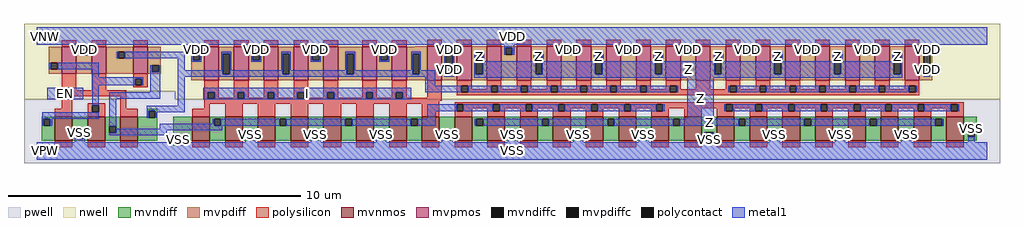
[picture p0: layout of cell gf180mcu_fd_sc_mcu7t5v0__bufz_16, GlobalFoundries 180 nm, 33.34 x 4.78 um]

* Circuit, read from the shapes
.subckt gf180mcu_fd_sc_mcu7t5v0__bufz_16 EN I Z VDD VNW VPW VSS
XM1 VSS EN n1 VPW nfet_06v0 w=0.815u l=0.6u
XM2 n2 n1 VSS VPW nfet_06v0 w=0.815u l=0.6u
XM3 n3 EN n2 VPW nfet_06v0 w=0.815u l=0.6u
XM4 n2 I VSS VPW nfet_06v0 w=0.82u l=0.6u m=8
XM5 Z n2 VSS VPW nfet_06v0 w=0.82u l=0.6u m=16
XM6 VDD EN n1 VNW pfet_06v0 w=0.92u l=0.5u
XM7 n3 EN VDD VNW pfet_06v0 w=0.92u l=0.5u
XM8 n2 n1 n3 VNW pfet_06v0 w=0.92u l=0.5u
XM9 n3 I VDD VNW pfet_06v0 w=1.15u l=0.5u m=7
XM10 VDD I n3 VNW pfet_06v0 w=1.175u l=0.5u
XM11 Z n3 VDD VNW pfet_06v0 w=1.175u l=0.5u m=16
.ends

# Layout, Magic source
magic
tech gf180mcuD
magscale 1 10
<< nwell >>
rect -86 407 6582 870
rect -86 352 575 407
rect 949 352 6582 407
<< pwell >>
rect 575 352 949 407
rect -86 -86 6582 352
<< mvnmos >>
rect 124 69 244 232
rect 348 69 468 232
rect 572 69 692 232
rect 1064 68 1184 232
rect 1288 68 1408 232
rect 1512 68 1632 232
rect 1736 68 1856 232
rect 1960 68 2080 232
rect 2184 68 2304 232
rect 2408 68 2528 232
rect 2632 68 2752 232
rect 2856 68 2976 232
rect 3080 68 3200 232
rect 3304 68 3424 232
rect 3528 68 3648 232
rect 3752 68 3872 232
rect 3976 68 4096 232
rect 4200 68 4320 232
rect 4424 68 4544 232
rect 4648 68 4768 232
rect 4872 68 4992 232
rect 5096 68 5216 232
rect 5320 68 5440 232
rect 5544 68 5664 232
rect 5768 68 5888 232
rect 5992 68 6112 232
rect 6216 68 6336 232
<< mvpmos >>
rect 172 527 272 711
rect 376 527 476 711
rect 660 527 760 711
rect 1144 481 1244 711
rect 1348 481 1448 711
rect 1552 481 1652 711
rect 1756 481 1856 711
rect 1960 481 2060 711
rect 2224 481 2324 711
rect 2428 481 2528 711
rect 2668 481 2768 716
rect 2872 481 2972 716
rect 3076 481 3176 716
rect 3280 481 3380 716
rect 3484 481 3584 716
rect 3688 481 3788 716
rect 3892 481 3992 716
rect 4096 481 4196 716
rect 4300 481 4400 716
rect 4504 481 4604 716
rect 4708 481 4808 716
rect 4912 481 5012 716
rect 5116 481 5216 716
rect 5320 481 5420 716
rect 5524 481 5624 716
rect 5728 481 5828 716
rect 5932 481 6032 716
<< mvndiff >>
rect 752 274 824 287
rect 752 232 765 274
rect 36 219 124 232
rect 36 173 49 219
rect 95 173 124 219
rect 36 69 124 173
rect 244 128 348 232
rect 244 82 273 128
rect 319 82 348 128
rect 244 69 348 82
rect 468 169 572 232
rect 468 123 497 169
rect 543 123 572 169
rect 468 69 572 123
rect 692 228 765 232
rect 811 228 824 274
rect 692 69 824 228
rect 932 95 1064 232
rect 932 49 945 95
rect 991 68 1064 95
rect 1184 219 1288 232
rect 1184 173 1213 219
rect 1259 173 1288 219
rect 1184 68 1288 173
rect 1408 127 1512 232
rect 1408 81 1437 127
rect 1483 81 1512 127
rect 1408 68 1512 81
rect 1632 219 1736 232
rect 1632 173 1661 219
rect 1707 173 1736 219
rect 1632 68 1736 173
rect 1856 127 1960 232
rect 1856 81 1885 127
rect 1931 81 1960 127
rect 1856 68 1960 81
rect 2080 219 2184 232
rect 2080 173 2109 219
rect 2155 173 2184 219
rect 2080 68 2184 173
rect 2304 127 2408 232
rect 2304 81 2333 127
rect 2379 81 2408 127
rect 2304 68 2408 81
rect 2528 219 2632 232
rect 2528 173 2557 219
rect 2603 173 2632 219
rect 2528 68 2632 173
rect 2752 127 2856 232
rect 2752 81 2781 127
rect 2827 81 2856 127
rect 2752 68 2856 81
rect 2976 219 3080 232
rect 2976 173 3005 219
rect 3051 173 3080 219
rect 2976 68 3080 173
rect 3200 127 3304 232
rect 3200 81 3229 127
rect 3275 81 3304 127
rect 3200 68 3304 81
rect 3424 219 3528 232
rect 3424 173 3453 219
rect 3499 173 3528 219
rect 3424 68 3528 173
rect 3648 127 3752 232
rect 3648 81 3677 127
rect 3723 81 3752 127
rect 3648 68 3752 81
rect 3872 219 3976 232
rect 3872 173 3901 219
rect 3947 173 3976 219
rect 3872 68 3976 173
rect 4096 127 4200 232
rect 4096 81 4125 127
rect 4171 81 4200 127
rect 4096 68 4200 81
rect 4320 219 4424 232
rect 4320 173 4349 219
rect 4395 173 4424 219
rect 4320 68 4424 173
rect 4544 127 4648 232
rect 4544 81 4573 127
rect 4619 81 4648 127
rect 4544 68 4648 81
rect 4768 219 4872 232
rect 4768 173 4797 219
rect 4843 173 4872 219
rect 4768 68 4872 173
rect 4992 127 5096 232
rect 4992 81 5021 127
rect 5067 81 5096 127
rect 4992 68 5096 81
rect 5216 219 5320 232
rect 5216 173 5245 219
rect 5291 173 5320 219
rect 5216 68 5320 173
rect 5440 127 5544 232
rect 5440 81 5469 127
rect 5515 81 5544 127
rect 5440 68 5544 81
rect 5664 219 5768 232
rect 5664 173 5693 219
rect 5739 173 5768 219
rect 5664 68 5768 173
rect 5888 127 5992 232
rect 5888 81 5917 127
rect 5963 81 5992 127
rect 5888 68 5992 81
rect 6112 219 6216 232
rect 6112 173 6141 219
rect 6187 173 6216 219
rect 6112 68 6216 173
rect 6336 141 6424 232
rect 6336 95 6365 141
rect 6411 95 6424 141
rect 6336 68 6424 95
rect 991 49 1004 68
rect 932 36 1004 49
<< mvpdiff >>
rect 2588 711 2668 716
rect 84 602 172 711
rect 84 556 97 602
rect 143 556 172 602
rect 84 527 172 556
rect 272 698 376 711
rect 272 652 301 698
rect 347 652 376 698
rect 272 527 376 652
rect 476 678 660 711
rect 476 632 557 678
rect 603 632 660 678
rect 476 527 660 632
rect 760 586 848 711
rect 760 540 789 586
rect 835 540 848 586
rect 760 527 848 540
rect 1056 665 1144 711
rect 1056 619 1069 665
rect 1115 619 1144 665
rect 1056 481 1144 619
rect 1244 665 1348 711
rect 1244 525 1273 665
rect 1319 525 1348 665
rect 1244 481 1348 525
rect 1448 665 1552 711
rect 1448 619 1477 665
rect 1523 619 1552 665
rect 1448 481 1552 619
rect 1652 665 1756 711
rect 1652 525 1681 665
rect 1727 525 1756 665
rect 1652 481 1756 525
rect 1856 665 1960 711
rect 1856 619 1885 665
rect 1931 619 1960 665
rect 1856 481 1960 619
rect 2060 665 2224 711
rect 2060 525 2120 665
rect 2166 525 2224 665
rect 2060 481 2224 525
rect 2324 665 2428 711
rect 2324 619 2353 665
rect 2399 619 2428 665
rect 2324 481 2428 619
rect 2528 665 2668 711
rect 2528 525 2569 665
rect 2615 525 2668 665
rect 2528 481 2668 525
rect 2768 665 2872 716
rect 2768 525 2797 665
rect 2843 525 2872 665
rect 2768 481 2872 525
rect 2972 665 3076 716
rect 2972 525 3001 665
rect 3047 525 3076 665
rect 2972 481 3076 525
rect 3176 703 3280 716
rect 3176 657 3205 703
rect 3251 657 3280 703
rect 3176 481 3280 657
rect 3380 665 3484 716
rect 3380 525 3409 665
rect 3455 525 3484 665
rect 3380 481 3484 525
rect 3584 703 3688 716
rect 3584 657 3613 703
rect 3659 657 3688 703
rect 3584 481 3688 657
rect 3788 665 3892 716
rect 3788 525 3817 665
rect 3863 525 3892 665
rect 3788 481 3892 525
rect 3992 703 4096 716
rect 3992 657 4021 703
rect 4067 657 4096 703
rect 3992 481 4096 657
rect 4196 665 4300 716
rect 4196 525 4225 665
rect 4271 525 4300 665
rect 4196 481 4300 525
rect 4400 703 4504 716
rect 4400 657 4429 703
rect 4475 657 4504 703
rect 4400 481 4504 657
rect 4604 665 4708 716
rect 4604 525 4633 665
rect 4679 525 4708 665
rect 4604 481 4708 525
rect 4808 703 4912 716
rect 4808 657 4837 703
rect 4883 657 4912 703
rect 4808 481 4912 657
rect 5012 665 5116 716
rect 5012 525 5041 665
rect 5087 525 5116 665
rect 5012 481 5116 525
rect 5216 703 5320 716
rect 5216 657 5245 703
rect 5291 657 5320 703
rect 5216 481 5320 657
rect 5420 665 5524 716
rect 5420 525 5449 665
rect 5495 525 5524 665
rect 5420 481 5524 525
rect 5624 703 5728 716
rect 5624 657 5653 703
rect 5699 657 5728 703
rect 5624 481 5728 657
rect 5828 665 5932 716
rect 5828 525 5857 665
rect 5903 525 5932 665
rect 5828 481 5932 525
rect 6032 665 6120 716
rect 6032 525 6061 665
rect 6107 525 6120 665
rect 6032 481 6120 525
<< mvndiffc >>
rect 49 173 95 219
rect 273 82 319 128
rect 497 123 543 169
rect 765 228 811 274
rect 945 49 991 95
rect 1213 173 1259 219
rect 1437 81 1483 127
rect 1661 173 1707 219
rect 1885 81 1931 127
rect 2109 173 2155 219
rect 2333 81 2379 127
rect 2557 173 2603 219
rect 2781 81 2827 127
rect 3005 173 3051 219
rect 3229 81 3275 127
rect 3453 173 3499 219
rect 3677 81 3723 127
rect 3901 173 3947 219
rect 4125 81 4171 127
rect 4349 173 4395 219
rect 4573 81 4619 127
rect 4797 173 4843 219
rect 5021 81 5067 127
rect 5245 173 5291 219
rect 5469 81 5515 127
rect 5693 173 5739 219
rect 5917 81 5963 127
rect 6141 173 6187 219
rect 6365 95 6411 141
<< mvpdiffc >>
rect 97 556 143 602
rect 301 652 347 698
rect 557 632 603 678
rect 789 540 835 586
rect 1069 619 1115 665
rect 1273 525 1319 665
rect 1477 619 1523 665
rect 1681 525 1727 665
rect 1885 619 1931 665
rect 2120 525 2166 665
rect 2353 619 2399 665
rect 2569 525 2615 665
rect 2797 525 2843 665
rect 3001 525 3047 665
rect 3205 657 3251 703
rect 3409 525 3455 665
rect 3613 657 3659 703
rect 3817 525 3863 665
rect 4021 657 4067 703
rect 4225 525 4271 665
rect 4429 657 4475 703
rect 4633 525 4679 665
rect 4837 657 4883 703
rect 5041 525 5087 665
rect 5245 657 5291 703
rect 5449 525 5495 665
rect 5653 657 5699 703
rect 5857 525 5903 665
rect 6061 525 6107 665
<< polysilicon >>
rect 172 711 272 755
rect 376 711 476 755
rect 660 711 760 755
rect 1144 711 1244 755
rect 1348 711 1448 755
rect 1552 711 1652 755
rect 1756 711 1856 755
rect 1960 711 2060 755
rect 2224 711 2324 755
rect 2428 711 2528 755
rect 2668 716 2768 760
rect 2872 716 2972 760
rect 3076 716 3176 760
rect 3280 716 3380 760
rect 3484 716 3584 760
rect 3688 716 3788 760
rect 3892 716 3992 760
rect 4096 716 4196 760
rect 4300 716 4400 760
rect 4504 716 4604 760
rect 4708 716 4808 760
rect 4912 716 5012 760
rect 5116 716 5216 760
rect 5320 716 5420 760
rect 5524 716 5624 760
rect 5728 716 5828 760
rect 5932 716 6032 760
rect 172 413 272 527
rect 376 413 476 527
rect 660 493 760 527
rect 660 447 673 493
rect 719 447 760 493
rect 660 434 760 447
rect 172 412 612 413
rect 172 366 185 412
rect 231 373 612 412
rect 231 366 244 373
rect 172 288 244 366
rect 124 232 244 288
rect 348 311 468 324
rect 348 265 379 311
rect 425 265 468 311
rect 348 232 468 265
rect 572 288 612 373
rect 1144 401 1244 481
rect 1144 355 1171 401
rect 1217 363 1244 401
rect 1348 401 1448 481
rect 1348 363 1373 401
rect 1217 355 1373 363
rect 1419 363 1448 401
rect 1552 401 1652 481
rect 1552 363 1578 401
rect 1419 355 1578 363
rect 1624 363 1652 401
rect 1756 401 1856 481
rect 1756 363 1781 401
rect 1624 355 1781 363
rect 1827 363 1856 401
rect 1960 401 2060 481
rect 1960 363 1987 401
rect 1827 355 1987 363
rect 2033 363 2060 401
rect 2224 401 2324 481
rect 2224 363 2251 401
rect 2033 355 2251 363
rect 2297 363 2324 401
rect 2428 401 2528 481
rect 2428 363 2455 401
rect 2297 355 2455 363
rect 2501 363 2528 401
rect 2668 363 2768 481
rect 2872 446 2972 481
rect 2872 400 2902 446
rect 2948 420 2972 446
rect 3076 446 3176 481
rect 3076 420 3105 446
rect 2948 400 3105 420
rect 3151 420 3176 446
rect 3280 446 3380 481
rect 3280 420 3309 446
rect 3151 400 3309 420
rect 3355 420 3380 446
rect 3484 446 3584 481
rect 3484 420 3513 446
rect 3355 400 3513 420
rect 3559 420 3584 446
rect 3688 446 3788 481
rect 3688 420 3715 446
rect 3559 400 3715 420
rect 3761 420 3788 446
rect 3892 446 3992 481
rect 3892 420 3919 446
rect 3761 400 3919 420
rect 3965 420 3992 446
rect 4096 446 4196 481
rect 4096 420 4124 446
rect 3965 400 4124 420
rect 4170 420 4196 446
rect 4300 446 4400 481
rect 4300 420 4327 446
rect 4170 400 4327 420
rect 4373 420 4400 446
rect 4504 420 4604 481
rect 4708 446 4808 481
rect 4708 420 4737 446
rect 4373 400 4737 420
rect 4783 420 4808 446
rect 4912 446 5012 481
rect 4912 420 4940 446
rect 4783 400 4940 420
rect 4986 420 5012 446
rect 5116 446 5216 481
rect 5116 420 5144 446
rect 4986 400 5144 420
rect 5190 420 5216 446
rect 5320 446 5420 481
rect 5320 420 5346 446
rect 5190 400 5346 420
rect 5392 420 5420 446
rect 5524 446 5624 481
rect 5524 420 5553 446
rect 5392 400 5553 420
rect 5599 420 5624 446
rect 5728 446 5828 481
rect 5728 420 5752 446
rect 5599 400 5752 420
rect 5798 420 5828 446
rect 5932 446 6032 481
rect 5932 420 5959 446
rect 5798 400 5959 420
rect 6005 400 6032 446
rect 2872 380 6032 400
rect 2501 355 2768 363
rect 1144 342 2768 355
rect 1144 323 2752 342
rect 572 232 692 288
rect 1144 287 1184 323
rect 1064 232 1184 287
rect 1288 232 1408 323
rect 1512 232 1632 323
rect 1736 232 1856 323
rect 1960 232 2080 323
rect 2184 232 2304 323
rect 2408 232 2528 323
rect 2632 232 2752 323
rect 2856 318 6336 332
rect 2856 272 2869 318
rect 2915 292 3118 318
rect 2915 272 2976 292
rect 2856 232 2976 272
rect 3080 272 3118 292
rect 3164 292 3341 318
rect 3164 272 3200 292
rect 3080 232 3200 272
rect 3304 272 3341 292
rect 3387 292 3564 318
rect 3387 272 3424 292
rect 3304 232 3424 272
rect 3528 272 3564 292
rect 3610 292 3789 318
rect 3610 272 3648 292
rect 3528 232 3648 272
rect 3752 272 3789 292
rect 3835 292 4014 318
rect 3835 272 3872 292
rect 3752 232 3872 272
rect 3976 272 4014 292
rect 4060 292 4233 318
rect 4060 272 4096 292
rect 3976 232 4096 272
rect 4200 272 4233 292
rect 4279 292 4709 318
rect 4279 272 4320 292
rect 4200 232 4320 272
rect 4424 232 4544 292
rect 4648 272 4709 292
rect 4755 292 4910 318
rect 4755 272 4768 292
rect 4648 232 4768 272
rect 4872 272 4910 292
rect 4956 292 5134 318
rect 4956 272 4992 292
rect 4872 232 4992 272
rect 5096 272 5134 292
rect 5180 292 5356 318
rect 5180 272 5216 292
rect 5096 232 5216 272
rect 5320 272 5356 292
rect 5402 292 5584 318
rect 5402 272 5440 292
rect 5320 232 5440 272
rect 5544 272 5584 292
rect 5630 292 5797 318
rect 5630 272 5664 292
rect 5544 232 5664 272
rect 5768 272 5797 292
rect 5843 292 6019 318
rect 5843 272 5888 292
rect 5768 232 5888 272
rect 5992 272 6019 292
rect 6065 292 6247 318
rect 6065 272 6112 292
rect 5992 232 6112 272
rect 6216 272 6247 292
rect 6293 272 6336 318
rect 6216 232 6336 272
rect 124 24 244 69
rect 348 24 468 69
rect 572 24 692 69
rect 1064 24 1184 68
rect 1288 24 1408 68
rect 1512 24 1632 68
rect 1736 24 1856 68
rect 1960 24 2080 68
rect 2184 24 2304 68
rect 2408 24 2528 68
rect 2632 24 2752 68
rect 2856 24 2976 68
rect 3080 24 3200 68
rect 3304 24 3424 68
rect 3528 24 3648 68
rect 3752 24 3872 68
rect 3976 24 4096 68
rect 4200 24 4320 68
rect 4424 24 4544 68
rect 4648 24 4768 68
rect 4872 24 4992 68
rect 5096 24 5216 68
rect 5320 24 5440 68
rect 5544 24 5664 68
rect 5768 24 5888 68
rect 5992 24 6112 68
rect 6216 24 6336 68
<< polycontact >>
rect 673 447 719 493
rect 185 366 231 412
rect 379 265 425 311
rect 1171 355 1217 401
rect 1373 355 1419 401
rect 1578 355 1624 401
rect 1781 355 1827 401
rect 1987 355 2033 401
rect 2251 355 2297 401
rect 2455 355 2501 401
rect 2902 400 2948 446
rect 3105 400 3151 446
rect 3309 400 3355 446
rect 3513 400 3559 446
rect 3715 400 3761 446
rect 3919 400 3965 446
rect 4124 400 4170 446
rect 4327 400 4373 446
rect 4737 400 4783 446
rect 4940 400 4986 446
rect 5144 400 5190 446
rect 5346 400 5392 446
rect 5553 400 5599 446
rect 5752 400 5798 446
rect 5959 400 6005 446
rect 2869 272 2915 318
rect 3118 272 3164 318
rect 3341 272 3387 318
rect 3564 272 3610 318
rect 3789 272 3835 318
rect 4014 272 4060 318
rect 4233 272 4279 318
rect 4709 272 4755 318
rect 4910 272 4956 318
rect 5134 272 5180 318
rect 5356 272 5402 318
rect 5584 272 5630 318
rect 5797 272 5843 318
rect 6019 272 6065 318
rect 6247 272 6293 318
<< metal1 >>
rect 0 724 6496 844
rect 290 698 358 724
rect 290 652 301 698
rect 347 652 358 698
rect 546 632 557 678
rect 603 632 1012 678
rect 84 556 97 602
rect 143 556 425 602
rect 379 504 425 556
rect 778 540 789 586
rect 835 540 846 586
rect 379 493 730 504
rect 379 447 673 493
rect 719 447 730 493
rect 74 412 318 430
rect 74 366 185 412
rect 231 366 318 412
rect 74 354 318 366
rect 379 311 425 447
rect 778 401 846 540
rect 38 219 425 265
rect 497 355 846 401
rect 966 552 1012 632
rect 1058 665 1126 724
rect 1058 619 1069 665
rect 1115 619 1126 665
rect 1058 608 1126 619
rect 1262 665 1330 676
rect 1262 552 1273 665
rect 966 525 1273 552
rect 1319 552 1330 665
rect 1466 665 1534 724
rect 1466 619 1477 665
rect 1523 619 1534 665
rect 1466 608 1534 619
rect 1670 665 1738 676
rect 1670 552 1681 665
rect 1319 525 1681 552
rect 1727 552 1738 665
rect 1874 665 1942 724
rect 1874 619 1885 665
rect 1931 619 1942 665
rect 1874 608 1942 619
rect 2109 665 2177 676
rect 2109 552 2120 665
rect 1727 525 2120 552
rect 2166 552 2177 665
rect 2342 665 2410 724
rect 2342 619 2353 665
rect 2399 619 2410 665
rect 2342 608 2410 619
rect 2558 665 2626 676
rect 2558 552 2569 665
rect 2166 525 2569 552
rect 2615 552 2626 665
rect 2786 665 2854 724
rect 3194 703 3262 724
rect 2615 525 2723 552
rect 966 506 2723 525
rect 2786 525 2797 665
rect 2843 525 2854 665
rect 2786 506 2854 525
rect 2990 665 3058 676
rect 2990 525 3001 665
rect 3047 611 3058 665
rect 3194 657 3205 703
rect 3251 657 3262 703
rect 3602 703 3670 724
rect 3398 665 3466 676
rect 3398 611 3409 665
rect 3047 525 3409 611
rect 3455 611 3466 665
rect 3602 657 3613 703
rect 3659 657 3670 703
rect 4010 703 4078 724
rect 3806 665 3874 676
rect 3806 611 3817 665
rect 3455 525 3817 611
rect 3863 611 3874 665
rect 4010 657 4021 703
rect 4067 657 4078 703
rect 4418 703 4486 724
rect 4214 665 4282 676
rect 4214 611 4225 665
rect 3863 525 4225 611
rect 4271 611 4282 665
rect 4418 657 4429 703
rect 4475 657 4486 703
rect 4826 703 4894 724
rect 4626 665 4690 676
rect 4626 611 4633 665
rect 4271 525 4633 611
rect 4679 611 4690 665
rect 4826 657 4837 703
rect 4883 657 4894 703
rect 5234 703 5302 724
rect 5030 665 5098 676
rect 5030 611 5041 665
rect 4679 525 5041 611
rect 5087 611 5098 665
rect 5234 657 5245 703
rect 5291 657 5302 703
rect 5642 703 5710 724
rect 5438 665 5506 676
rect 5438 611 5449 665
rect 5087 525 5449 611
rect 5495 611 5506 665
rect 5642 657 5653 703
rect 5699 657 5710 703
rect 5846 665 5914 676
rect 5846 611 5857 665
rect 5495 525 5857 611
rect 5903 525 5914 665
rect 38 173 49 219
rect 95 173 106 219
rect 497 169 543 355
rect 966 309 1012 506
rect 2654 446 2723 506
rect 2990 501 5914 525
rect 6061 665 6107 724
rect 6061 506 6107 525
rect 1138 401 2558 430
rect 1138 355 1171 401
rect 1217 355 1373 401
rect 1419 355 1578 401
rect 1624 355 1781 401
rect 1827 355 1987 401
rect 2033 355 2251 401
rect 2297 355 2455 401
rect 2501 355 2558 401
rect 2654 400 2902 446
rect 2948 400 3105 446
rect 3151 400 3309 446
rect 3355 400 3513 446
rect 3559 400 3715 446
rect 3761 400 3919 446
rect 3965 400 4124 446
rect 4170 400 4327 446
rect 4373 400 4384 446
rect 1138 354 2558 355
rect 754 274 1012 309
rect 754 228 765 274
rect 811 263 1012 274
rect 2670 272 2869 318
rect 2915 272 3118 318
rect 3164 272 3341 318
rect 3387 272 3564 318
rect 3610 272 3789 318
rect 3835 272 4014 318
rect 4060 272 4233 318
rect 4279 272 4290 318
rect 811 228 822 263
rect 2670 219 2728 272
rect 4446 219 4626 501
rect 4726 400 4737 446
rect 4783 400 4940 446
rect 4986 400 5144 446
rect 5190 400 5346 446
rect 5392 400 5553 446
rect 5599 400 5752 446
rect 5798 400 5959 446
rect 6005 400 6016 446
rect 4698 272 4709 318
rect 4755 272 4910 318
rect 4956 272 5134 318
rect 5180 272 5356 318
rect 5402 272 5584 318
rect 5630 272 5797 318
rect 5843 272 6019 318
rect 6065 272 6247 318
rect 6293 272 6304 318
rect 1202 187 1213 219
rect 262 82 273 128
rect 319 82 330 128
rect 843 173 1213 187
rect 1259 173 1661 219
rect 1707 173 2109 219
rect 2155 173 2557 219
rect 2603 173 2728 219
rect 2994 173 3005 219
rect 3051 173 3453 219
rect 3499 173 3901 219
rect 3947 173 4349 219
rect 4395 173 4797 219
rect 4843 173 5245 219
rect 5291 173 5693 219
rect 5739 173 6141 219
rect 6187 173 6198 219
rect 843 152 1270 173
rect 543 141 1270 152
rect 6365 141 6411 180
rect 543 123 888 141
rect 497 106 888 123
rect 262 60 330 82
rect 934 60 945 95
rect 0 49 945 60
rect 991 60 1002 95
rect 1426 81 1437 127
rect 1483 81 1494 127
rect 1426 60 1494 81
rect 1874 81 1885 127
rect 1931 81 1942 127
rect 1874 60 1942 81
rect 2322 81 2333 127
rect 2379 81 2390 127
rect 2322 60 2390 81
rect 2767 81 2781 127
rect 2827 81 2842 127
rect 2767 60 2842 81
rect 3218 81 3229 127
rect 3275 81 3286 127
rect 3218 60 3286 81
rect 3666 81 3677 127
rect 3723 81 3734 127
rect 3666 60 3734 81
rect 4114 81 4125 127
rect 4171 81 4182 127
rect 4114 60 4182 81
rect 4562 81 4573 127
rect 4619 81 4630 127
rect 4562 60 4630 81
rect 5010 81 5021 127
rect 5067 81 5078 127
rect 5010 60 5078 81
rect 5458 81 5469 127
rect 5515 81 5526 127
rect 5458 60 5526 81
rect 5906 81 5917 127
rect 5963 81 5974 127
rect 5906 60 5974 81
rect 6365 60 6411 95
rect 991 49 6496 60
rect 0 -60 6496 49
<< labels >>
flabel metal1 s 1138 354 2558 430 0 FreeSans 600 0 0 0 I
port 2 nsew default input
flabel metal1 s 0 724 6496 844 0 FreeSans 600 0 0 0 VDD
port 4 nsew power bidirectional abutment
flabel metal1 s 6365 128 6411 180 0 FreeSans 600 0 0 0 VSS
port 7 nsew ground bidirectional abutment
flabel metal1 s 5846 611 5914 676 0 FreeSans 600 0 0 0 Z
port 3 nsew default output
flabel metal1 s 74 354 318 430 0 FreeSans 600 0 0 0 EN
port 1 nsew default input
flabel nwell s 10 734 110 834 0 FreeSans 400 0 0 0 VNW
port 5 nsew power bidirectional
flabel pwell s 10 -50 110 50 0 FreeSans 400 0 0 0 VPW
port 6 nsew ground bidirectional
rlabel metal1 s 5438 611 5506 676 1 Z
port 3 nsew default output
rlabel metal1 s 5030 611 5098 676 1 Z
port 3 nsew default output
rlabel metal1 s 4626 611 4690 676 1 Z
port 3 nsew default output
rlabel metal1 s 4214 611 4282 676 1 Z
port 3 nsew default output
rlabel metal1 s 3806 611 3874 676 1 Z
port 3 nsew default output
rlabel metal1 s 3398 611 3466 676 1 Z
port 3 nsew default output
rlabel metal1 s 2990 611 3058 676 1 Z
port 3 nsew default output
rlabel metal1 s 2990 501 5914 611 1 Z
port 3 nsew default output
rlabel metal1 s 4446 219 4626 501 1 Z
port 3 nsew default output
rlabel metal1 s 2994 173 6198 219 1 Z
port 3 nsew default output
rlabel metal1 s 6061 657 6107 724 1 VDD
port 4 nsew power bidirectional abutment
rlabel metal1 s 5642 657 5710 724 1 VDD
port 4 nsew power bidirectional abutment
rlabel metal1 s 5234 657 5302 724 1 VDD
port 4 nsew power bidirectional abutment
rlabel metal1 s 4826 657 4894 724 1 VDD
port 4 nsew power bidirectional abutment
rlabel metal1 s 4418 657 4486 724 1 VDD
port 4 nsew power bidirectional abutment
rlabel metal1 s 4010 657 4078 724 1 VDD
port 4 nsew power bidirectional abutment
rlabel metal1 s 3602 657 3670 724 1 VDD
port 4 nsew power bidirectional abutment
rlabel metal1 s 3194 657 3262 724 1 VDD
port 4 nsew power bidirectional abutment
rlabel metal1 s 2786 657 2854 724 1 VDD
port 4 nsew power bidirectional abutment
rlabel metal1 s 2342 657 2410 724 1 VDD
port 4 nsew power bidirectional abutment
rlabel metal1 s 1874 657 1942 724 1 VDD
port 4 nsew power bidirectional abutment
rlabel metal1 s 1466 657 1534 724 1 VDD
port 4 nsew power bidirectional abutment
rlabel metal1 s 1058 657 1126 724 1 VDD
port 4 nsew power bidirectional abutment
rlabel metal1 s 290 657 358 724 1 VDD
port 4 nsew power bidirectional abutment
rlabel metal1 s 6061 652 6107 657 1 VDD
port 4 nsew power bidirectional abutment
rlabel metal1 s 2786 652 2854 657 1 VDD
port 4 nsew power bidirectional abutment
rlabel metal1 s 2342 652 2410 657 1 VDD
port 4 nsew power bidirectional abutment
rlabel metal1 s 1874 652 1942 657 1 VDD
port 4 nsew power bidirectional abutment
rlabel metal1 s 1466 652 1534 657 1 VDD
port 4 nsew power bidirectional abutment
rlabel metal1 s 1058 652 1126 657 1 VDD
port 4 nsew power bidirectional abutment
rlabel metal1 s 290 652 358 657 1 VDD
port 4 nsew power bidirectional abutment
rlabel metal1 s 6061 608 6107 652 1 VDD
port 4 nsew power bidirectional abutment
rlabel metal1 s 2786 608 2854 652 1 VDD
port 4 nsew power bidirectional abutment
rlabel metal1 s 2342 608 2410 652 1 VDD
port 4 nsew power bidirectional abutment
rlabel metal1 s 1874 608 1942 652 1 VDD
port 4 nsew power bidirectional abutment
rlabel metal1 s 1466 608 1534 652 1 VDD
port 4 nsew power bidirectional abutment
rlabel metal1 s 1058 608 1126 652 1 VDD
port 4 nsew power bidirectional abutment
rlabel metal1 s 6061 506 6107 608 1 VDD
port 4 nsew power bidirectional abutment
rlabel metal1 s 2786 506 2854 608 1 VDD
port 4 nsew power bidirectional abutment
rlabel metal1 s 6365 127 6411 128 1 VSS
port 7 nsew ground bidirectional abutment
rlabel metal1 s 262 127 330 128 1 VSS
port 7 nsew ground bidirectional abutment
rlabel metal1 s 6365 95 6411 127 1 VSS
port 7 nsew ground bidirectional abutment
rlabel metal1 s 5906 95 5974 127 1 VSS
port 7 nsew ground bidirectional abutment
rlabel metal1 s 5458 95 5526 127 1 VSS
port 7 nsew ground bidirectional abutment
rlabel metal1 s 5010 95 5078 127 1 VSS
port 7 nsew ground bidirectional abutment
rlabel metal1 s 4562 95 4630 127 1 VSS
port 7 nsew ground bidirectional abutment
rlabel metal1 s 4114 95 4182 127 1 VSS
port 7 nsew ground bidirectional abutment
rlabel metal1 s 3666 95 3734 127 1 VSS
port 7 nsew ground bidirectional abutment
rlabel metal1 s 3218 95 3286 127 1 VSS
port 7 nsew ground bidirectional abutment
rlabel metal1 s 2767 95 2842 127 1 VSS
port 7 nsew ground bidirectional abutment
rlabel metal1 s 2322 95 2390 127 1 VSS
port 7 nsew ground bidirectional abutment
rlabel metal1 s 1874 95 1942 127 1 VSS
port 7 nsew ground bidirectional abutment
rlabel metal1 s 1426 95 1494 127 1 VSS
port 7 nsew ground bidirectional abutment
rlabel metal1 s 262 95 330 127 1 VSS
port 7 nsew ground bidirectional abutment
rlabel metal1 s 6365 60 6411 95 1 VSS
port 7 nsew ground bidirectional abutment
rlabel metal1 s 5906 60 5974 95 1 VSS
port 7 nsew ground bidirectional abutment
rlabel metal1 s 5458 60 5526 95 1 VSS
port 7 nsew ground bidirectional abutment
rlabel metal1 s 5010 60 5078 95 1 VSS
port 7 nsew ground bidirectional abutment
rlabel metal1 s 4562 60 4630 95 1 VSS
port 7 nsew ground bidirectional abutment
rlabel metal1 s 4114 60 4182 95 1 VSS
port 7 nsew ground bidirectional abutment
rlabel metal1 s 3666 60 3734 95 1 VSS
port 7 nsew ground bidirectional abutment
rlabel metal1 s 3218 60 3286 95 1 VSS
port 7 nsew ground bidirectional abutment
rlabel metal1 s 2767 60 2842 95 1 VSS
port 7 nsew ground bidirectional abutment
rlabel metal1 s 2322 60 2390 95 1 VSS
port 7 nsew ground bidirectional abutment
rlabel metal1 s 1874 60 1942 95 1 VSS
port 7 nsew ground bidirectional abutment
rlabel metal1 s 1426 60 1494 95 1 VSS
port 7 nsew ground bidirectional abutment
rlabel metal1 s 934 60 1002 95 1 VSS
port 7 nsew ground bidirectional abutment
rlabel metal1 s 262 60 330 95 1 VSS
port 7 nsew ground bidirectional abutment
rlabel metal1 s 0 -60 6496 60 1 VSS
port 7 nsew ground bidirectional abutment
<< properties >>
string FIXED_BBOX 0 0 6496 784
string GDS_END 1440990
string GDS_FILE $PDKPATH/libs.ref/gf180mcu_fd_sc_mcu7t5v0/gds/gf180mcu_fd_sc_mcu7t5v0.gds
string GDS_START 1427948
string LEFclass core
string LEFsite GF018hv5v_mcu_sc7
string LEFsymmetry X Y
<< end >>
